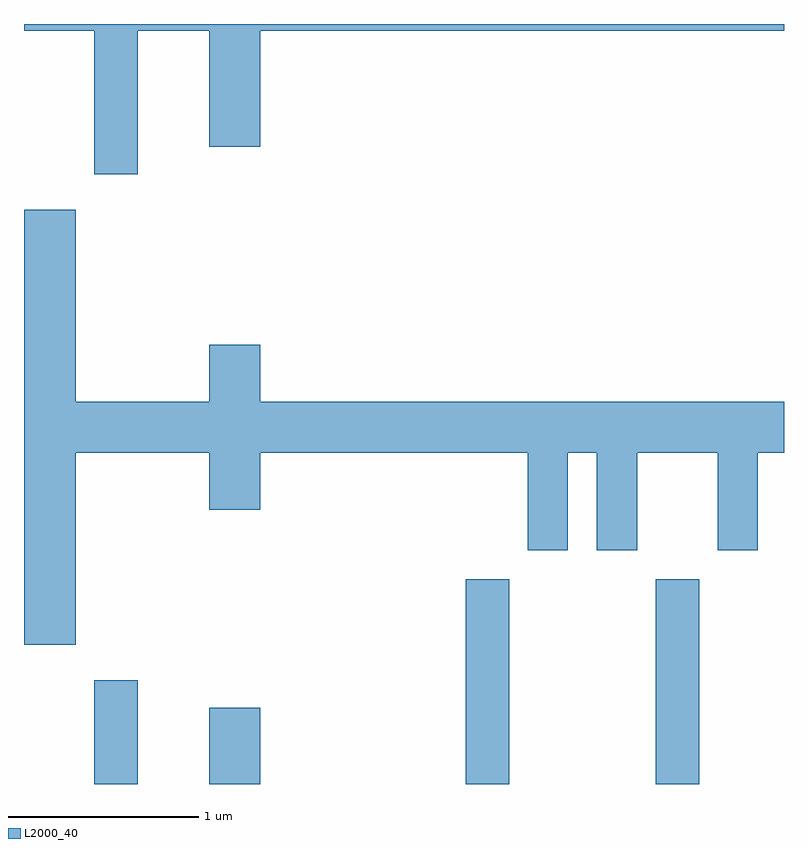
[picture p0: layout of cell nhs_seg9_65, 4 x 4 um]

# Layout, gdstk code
import gdstk
lib = gdstk.Library(unit=1e-6, precision=1e-09)
def R(c, l, rs):  # rectangles x0, y0, x1, y1
    for r in rs: c.add(gdstk.rectangle(r[:2], r[2:], *l))
def P(c, l, *ps):  # polygons
    for p in ps: c.add(gdstk.Polygon(p, *l))
L2000_40 = (2000, 40)

nhs_seg9_65 = lib.new_cell('nhs_seg9_65')
R(nhs_seg9_65, L2000_40, [(185.981,2074.432,186.209,2074.979), (186.586,2074.432,186.854,2074.834), (187.936,2074.432,188.164,2075.509), (188.936,2074.432,189.164,2075.509)])
P(nhs_seg9_65, L2000_40, [(186.209,2078.396),(186.586,2078.396),(186.586,2077.786),(186.854,2077.786),(186.854,2078.396),(189.611,2078.396),(189.611,2078.432),(185.611,2078.432),(185.611,2078.396),(185.981,2078.396),(185.981,2077.641),(186.209,2077.641)],
  [(185.884,2076.176),(186.586,2076.176),(186.586,2075.876),(186.854,2075.876),(186.854,2076.176),(188.261,2076.176),(188.261,2075.661),(188.474,2075.661),(188.474,2076.176),(188.626,2076.176),(188.626,2075.661),(188.839,2075.661),(188.839,2076.176),(189.261,2076.176),(189.261,2075.661),(189.474,2075.661),(189.474,2076.176),(189.611,2076.176),(189.611,2076.444),(186.854,2076.444),(186.854,2076.744),(186.586,2076.744),(186.586,2076.444),(185.884,2076.444),(185.884,2077.454),(185.611,2077.454),(185.611,2075.166),(185.884,2075.166)])

lib.write_gds('nhs_seg9_65.gds')
